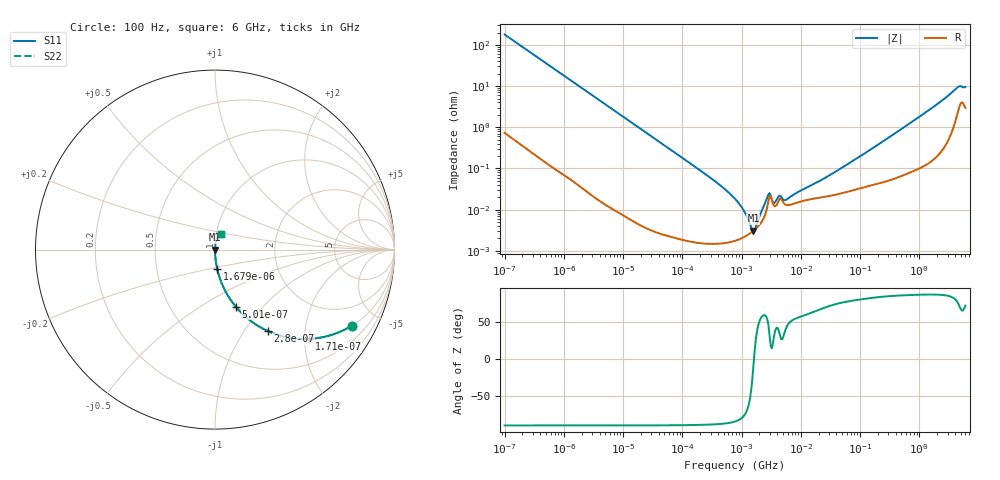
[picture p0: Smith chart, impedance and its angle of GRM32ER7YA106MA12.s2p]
!Murata Part Number: GRM32ER7YA106MA12
!These Parameters are Measured in Series Mode Connection
!Data Generated on Mar 30, 2021
!  o--ll--o
!Port1  Port2
!  o------o
!Operation Temp=25[degC], DC Bias Voltage=0[V]
!Freq. Start=100[Hz] Stop=6[GHz] 401[Steps]
# Hz S RI R 50
!Freq.(Hz) S11(Real) S11(Imag) S21(Real) S21(Imag) S12(Real) S12(Imag) S22(Real) S22(Imag)
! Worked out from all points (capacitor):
!   401 points, 100 Hz to 6 GHz, reference 50 ohm
!   read as one part in series: C = 8.86 uF near 109 Hz
!   lowest |Z| = 3.11 mohm at 1.586 MHz (marker M1)
!   series resonance near 1.619 MHz, so ESL is about 1.1 nH
!   S11 on the Smith chart (normalised r, x): 100 Hz: 1.01, -3.59; 171 Hz: 1.01, -2.10; 280 Hz: 1.00, -1.28; 501 Hz: 1.00, -0.72; 1.679 kHz: 1.00, -0.22; 6 GHz: 1.06, +0.18
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100  0.7619 -0.4239  0.2381 0.4239  0.2381 0.4239  0.7619 -0.4239
171  0.524 -0.4975  0.476 0.4975  0.476 0.4975  0.524 -0.4975
280  0.2926 -0.453  0.7074 0.453  0.7074 0.453  0.2926 -0.453
501  0.1152 -0.3174  0.8848 0.3174  0.8848 0.3174  0.1152 -0.3174
1679  0.0118 -0.1062  0.9882 0.1062  0.9882 0.1062  0.0118 -0.1062
2008  0.00836 -0.0892  0.9916 0.0892  0.9916 0.0892  0.00836 -0.0892
40335  4.69e-05 -0.0045  1 0.0045  1 0.0045  4.69e-05 -0.0045
330837  1.5e-05 -0.000529  1 0.000529  1 0.000529  1.5e-05 -0.000529
774597  1.75e-05 -0.000183  1 0.000183  1 0.000183  1.75e-05 -0.000183
1108252  2.17e-05 -8.87e-05  1 8.87e-05  1 8.87e-05  2.17e-05 -8.87e-05
1585629  3.07e-05 -4.8e-06  1 4.8e-06  1 4.8e-06  3.07e-05 -4.8e-06
2169299  5e-05 7.58e-05  1 -7.58e-05  1 -7.58e-05  5e-05 7.58e-05
2837864  0.000162 0.000167  0.9998 -0.000167  0.9998 -0.000167  0.000162 0.000167
3549919  0.000123 7.54e-05  0.9999 -7.54e-05  0.9999 -7.54e-05  0.000123 7.54e-05
4440638  0.000187 0.000118  0.9998 -0.000118  0.9998 -0.000118  0.000187 0.000118
5554849  0.000131 0.000111  0.9999 -0.000111  0.9999 -0.000111  0.000131 0.000111
1.555665e7  0.000182 0.000356  0.9998 -0.000356  0.9998 -0.000356  0.000182 0.000356
4.35672e7  0.00024 0.0009  0.9998 -0.0009  0.9998 -0.0009  0.00024 0.0009
3.124326e8  0.000546 0.00575  0.9995 -0.00575  0.9995 -0.00575  0.000546 0.00575
1.712697e9  0.00256 0.0308  0.9974 -0.0308  0.9974 -0.0308  0.00256 0.0308
4.385646e9  0.0279 0.0854  0.9721 -0.0854  0.9721 -0.0854  0.0279 0.0854
6e9  0.0361 0.0853  0.9639 -0.0853  0.9639 -0.0853  0.0361 0.0853
